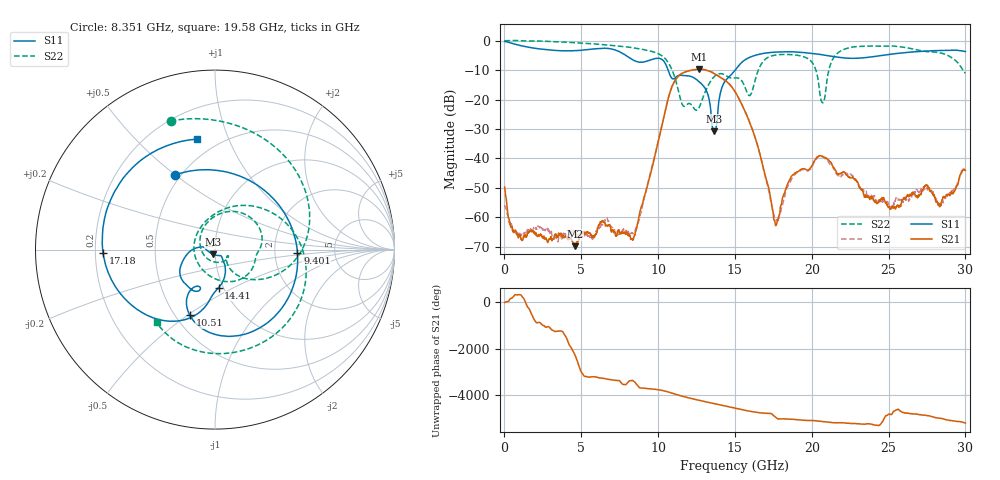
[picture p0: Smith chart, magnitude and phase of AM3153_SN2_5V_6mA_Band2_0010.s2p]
!Agilent Technologies,E8364B,MY43040894,A.07.50.67
!Agilent E8364B: A.07.50.67
!Date: Tuesday, May 12, 2020 09:49:45
!Correction: S11(Full 2 Port(1,2))
!S21(Full 2 Port(1,2))
!S12(Full 2 Port(1,2))
!S22(Full 2 Port(1,2))
!S2P File: Measurements: S11, S21, S12, S22:
# Hz S  dB  R 50
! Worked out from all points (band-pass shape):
!   1601 points, 10 MHz to 30 GHz, reference 50 ohm
!   highest |S21| = -9.70 dB at 12.68 GHz (marker M1); lowest = -69.8 dB at 4.583 GHz (marker M2)
!   |S21| within 3 dB of the highest: 11.22 GHz to 14.13 GHz (2.911 GHz wide, 23 % of centre)
!   lowest |S11| = -30.8 dB at 13.66 GHz (marker M3), VSWR 1.06, Z = 48.8 - j2.58 ohm
!   |S11| at or under -10 dB: 10.65 GHz to 15.01 GHz (4.361 GHz wide, 34 % of centre)
!   |S22| runs from -23.7 to 0.1 dB; largest |S21 - S12| = 0.0053
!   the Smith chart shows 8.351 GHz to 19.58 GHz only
!   S11 on the Smith chart (normalised r, x): 8.351 GHz: 0.47, +0.50; 9.401 GHz: 2.70, -0.12; 10.51 GHz: 0.59, -0.51; 14.41 GHz: 0.95, -0.42; 17.18 GHz: 0.23, -0.01; 19.58 GHz: 0.38, +0.77
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1e7  -0.27 -7.1  -49.69 -15.3  -55.84 150.8  -0.03 -2.1
9.284438e8  -1.54 -84.7  -66.81 -38.5  -64.92 8.7  0.00 -27.7
2.128044e9  -2.71 -166.0  -66.38 -162.1  -64.05 2.5  -0.10 -63.5
4.583475e9  -3.41 57.7  -69.79 -98.0  -65.48 -126.8  -0.70 -134.6
5.014581e9  -3.26 32.3  -64.98 -123.5  -65.42 117.6  -0.83 -147.0
6.75775e9  -2.66 -88.0  -62.82 -68.0  -61.42 -64.3  -1.53 162.0
8.350969e9  -6.52 118.0  -67.23 -119.3  -65.41 -108.9  -2.40 109.0
9.400619e9  -6.75 -2.1  -47.38 -104.0  -46.93 -103.7  -3.42 65.6
1.001916e10  -5.98 -63.4  -34.07 -154.7  -33.88 -154.3  -4.46 32.5
1.05065e10  -8.14 -111.0  -22.88 139.2  -22.67 138.7  -6.37 -1.1
1.268078e10  -13.98 -157.8  -9.70 111.8  -9.67 111.5  -22.63 -172.9
1.365545e10  -30.79 -113.5  -11.20 -30.1  -11.08 -30.5  -12.21 58.9
1.44052e10  -13.43 -84.5  -13.68 -135.5  -13.60 -136.6  -11.84 4.0
1.5005e10  -10.03 -99.0  -17.31 133.8  -17.22 132.5  -12.67 -18.3
1.717928e10  -4.10 -178.5  -49.66 -86.3  -50.62 -86.1  -5.61 -14.3
1.768536e10  -3.88 164.2  -62.63 87.2  -61.17 -8.4  -4.86 -45.0
1.957848e10  -4.10 99.3  -43.66 -26.4  -43.90 -24.2  -5.68 -128.7
2.000958e10  -4.36 82.8  -42.47 -31.6  -42.92 -28.6  -7.30 -151.2
2.072184e10  -4.86 53.7  -39.43 -81.6  -39.43 -78.4  -21.11 -121.6
2.194019e10  -5.78 -2.4  -44.86 -126.2  -45.79 -133.8  -3.33 -124.4
2.501416e10  -4.68 -148.4  -56.56 -115.9  -55.59 -168.3  -1.86 134.7
3e10  -3.69 72.3  -44.02 -141.5  -43.73 -137.3  -11.11 -10.8
